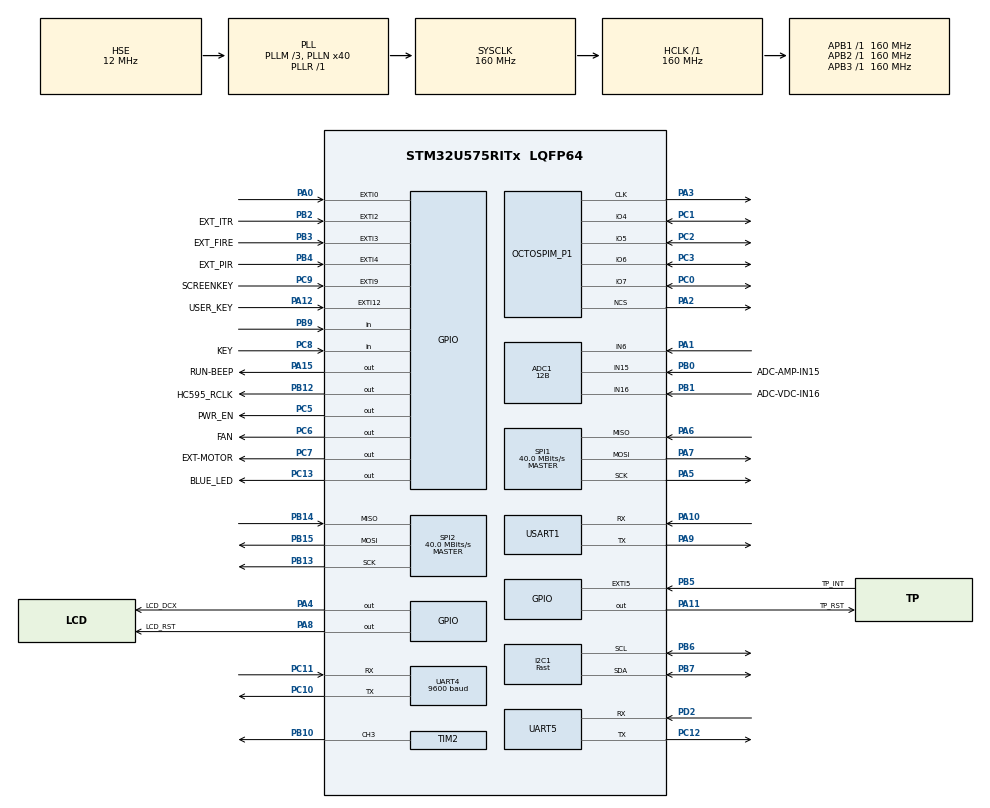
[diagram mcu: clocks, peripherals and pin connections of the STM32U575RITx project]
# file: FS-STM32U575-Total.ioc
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ADC1.Channel-0\#ChannelRegularConversion=ADC_CHANNEL_6
ADC1.Channel-1\#ChannelRegularConversion=ADC_CHANNEL_15
ADC1.Channel-2\#ChannelRegularConversion=ADC_CHANNEL_16
ADC1.Channel-3\#ChannelRegularConversion=ADC_CHANNEL_TEMPSENSOR
ADC1.Channel-4\#ChannelRegularConversion=ADC_CHANNEL_VREFINT
ADC1.Channel-5\#ChannelRegularConversion=ADC_CHANNEL_VBAT
ADC1.ClockPrescaler=ADC_CLOCK_ASYNC_DIV1
ADC1.ContinuousConvMode=ENABLE
ADC1.ConversionDataManagement=ADC_CONVERSIONDATA_DMA_CIRCULAR
ADC1.EnableInjectedConversion=DISABLE
ADC1.EnableRegularConversion=ENABLE
ADC1.MonitoredBy-0\#ChannelRegularConversion=__NULL
ADC1.MonitoredBy-1\#ChannelRegularConversion=__NULL
ADC1.MonitoredBy-2\#ChannelRegularConversion=__NULL
ADC1.MonitoredBy-3\#ChannelRegularConversion=__NULL
ADC1.MonitoredBy-4\#ChannelRegularConversion=__NULL
ADC1.MonitoredBy-5\#ChannelRegularConversion=__NULL
ADC1.NbrOfConversion=6
ADC1.NbrOfConversionFlag=1
ADC1.OffsetNumber-0\#ChannelRegularConversion=ADC_OFFSET_NONE
ADC1.OffsetNumber-1\#ChannelRegularConversion=ADC_OFFSET_NONE
ADC1.OffsetNumber-2\#ChannelRegularConversion=ADC_OFFSET_NONE
ADC1.OffsetNumber-3\#ChannelRegularConversion=ADC_OFFSET_NONE
ADC1.OffsetNumber-4\#ChannelRegularConversion=ADC_OFFSET_NONE
ADC1.OffsetNumber-5\#ChannelRegularConversion=ADC_OFFSET_NONE
ADC1.Rank-0\#ChannelRegularConversion=1
ADC1.Rank-1\#ChannelRegularConversion=2
ADC1.Rank-2\#ChannelRegularConversion=3
ADC1.Rank-3\#ChannelRegularConversion=4
ADC1.Rank-4\#ChannelRegularConversion=5
ADC1.Rank-5\#ChannelRegularConversion=6
ADC1.Resolution=ADC_RESOLUTION_12B
ADC1.SamplingTime-0\#ChannelRegularConversion=ADC_SAMPLETIME_391CYCLES_5
ADC1.SamplingTime-1\#ChannelRegularConversion=ADC_SAMPLETIME_391CYCLES_5
ADC1.SamplingTime-2\#ChannelRegularConversion=ADC_SAMPLETIME_391CYCLES_5
ADC1.SamplingTime-3\#ChannelRegularConversion=ADC_SAMPLETIME_391CYCLES_5
ADC1.SamplingTime-4\#ChannelRegularConversion=ADC_SAMPLETIME_391CYCLES_5
ADC1.SamplingTime-5\#ChannelRegularConversion=ADC_SAMPLETIME_391CYCLES_5
ADC1.master=1
CORTEX_M33_NS.userName=CORTEX_M33
GPDMA1.CIRCULARMODE_GPDMACH0=DISABLE
GPDMA1.CIRCULARMODE_GPDMACH1=ENABLE
GPDMA1.CIRCULARMODE_GPDMACH2=ENABLE
GPDMA1.CIRCULARMODE_GPDMACH4=ENABLE
GPDMA1.CIRCULARMODE_GPDMACH5=ENABLE
GPDMA1.DESTDATAWIDTH_GPDMACH0=DMA_DEST_DATAWIDTH_HALFWORD
GPDMA1.DESTDATAWIDTH_GPDMACH1=DMA_DEST_DATAWIDTH_HALFWORD
GPDMA1.DESTDATAWIDTH_GPDMACH4=DMA_DEST_DATAWIDTH_BYTE
GPDMA1.DESTDATAWIDTH_GPDMACH5=DMA_DEST_DATAWIDTH_BYTE
GPDMA1.DESTINC_GPDMACH0=DMA_DINC_FIXED
GPDMA1.DESTINC_GPDMACH1=DMA_DINC_INCREMENTED
GPDMA1.DESTINC_GPDMACH2=DMA_DINC_INCREMENTED
GPDMA1.DESTINC_GPDMACH4=DMA_DINC_INCREMENTED
GPDMA1.DESTINC_GPDMACH5=DMA_DINC_FIXED
GPDMA1.DIRECTION_GPDMACH0=DMA_MEMORY_TO_PERIPH
GPDMA1.DIRECTION_GPDMACH4=DMA_PERIPH_TO_MEMORY
GPDMA1.IPHANDLE_GPDMACH0-SIMPLEREQUEST_GPDMACH0=__NULL
GPDMA1.IPHANDLE_GPDMACH1-SIMPLEREQUEST_GPDMACH1=__NULL
GPDMA1.IPHANDLE_GPDMACH2-SIMPLEREQUEST_GPDMACH2=__NULL
GPDMA1.IPHANDLE_GPDMACH3-SIMPLEREQUEST_GPDMACH3=__NULL
GPDMA1.IPHANDLE_GPDMACH4-SIMPLEREQUEST_GPDMACH4=__NULL
GPDMA1.IPHANDLE_GPDMACH5-SIMPLEREQUEST_GPDMACH5=__NULL
GPDMA1.LINKALLOCATEDPORT_CIRCULAR_GPDMACH1=DMA_LINK_ALLOCATED_PORT1
GPDMA1.LINKALLOCATEDPORT_CIRCULAR_GPDMACH5=DMA_LINK_ALLOCATED_PORT1
GPDMA1.PRIORITY_GPDMACH0=DMA_LOW_PRIORITY_HIGH_WEIGHT
GPDMA1.PRIORITY_LL_CIRCULAR_GPDMACH1=DMA_LOW_PRIORITY_HIGH_WEIGHT
GPDMA1.PRIORITY_LL_CIRCULAR_GPDMACH2=DMA_LOW_PRIORITY_MID_WEIGHT
GPDMA1.PRIORITY_LL_CIRCULAR_GPDMACH4=DMA_LOW_PRIORITY_HIGH_WEIGHT
GPDMA1.PRIORITY_LL_CIRCULAR_GPDMACH5=DMA_LOW_PRIORITY_LOW_WEIGHT
GPDMA1.RECAP_GPDMACH0=USART1_RX
GPDMA1.RECAP_GPDMACH1=USART1_TX
GPDMA1.RECAP_GPDMACH2=UART4_RX
GPDMA1.RECAP_GPDMACH3=UART4_TX
GPDMA1.RECAP_GPDMACH4=GPDMA1_REQUEST_SPI1_TX
GPDMA1.RECAP_GPDMACH5=GPDMA1_REQUEST_ADC1
GPDMA1.REQUEST_GPDMACH0=GPDMA1_REQUEST_SPI1_TX
GPDMA1.REQUEST_GPDMACH1=GPDMA1_REQUEST_ADC1
GPDMA1.REQUEST_GPDMACH2=GPDMA1_REQUEST_UART4_RX
GPDMA1.REQUEST_GPDMACH3=GPDMA1_REQUEST_UART4_TX
GPDMA1.REQUEST_GPDMACH4=GPDMA1_REQUEST_USART1_RX
GPDMA1.REQUEST_GPDMACH5=GPDMA1_REQUEST_USART1_TX
GPDMA1.SRCDATAWIDTH_GPDMACH0=DMA_SRC_DATAWIDTH_HALFWORD
GPDMA1.SRCDATAWIDTH_GPDMACH1=DMA_SRC_DATAWIDTH_HALFWORD
GPDMA1.SRCDATAWIDTH_GPDMACH4=DMA_SRC_DATAWIDTH_BYTE
GPDMA1.SRCDATAWIDTH_GPDMACH5=DMA_SRC_DATAWIDTH_BYTE
GPDMA1.SRCINC_GPDMACH0=DMA_SINC_INCREMENTED
GPDMA1.SRCINC_GPDMACH1=DMA_SINC_FIXED
GPDMA1.SRCINC_GPDMACH3=DMA_SINC_INCREMENTED
GPDMA1.SRCINC_GPDMACH4=DMA_SINC_FIXED
GPDMA1.SRCINC_GPDMACH5=DMA_SINC_INCREMENTED
GPDMA1.TRANSFERALLOCATEDPORTDEST_GPDMACH0=DMA_DEST_ALLOCATED_PORT0
GPDMA1.TRANSFERALLOCATEDPORTDEST_GPDMACH1=DMA_DEST_ALLOCATED_PORT1
GPDMA1.TRANSFERALLOCATEDPORTDEST_GPDMACH5=DMA_DEST_ALLOCATED_PORT0
GPDMA1.TRANSFERALLOCATEDPORTSRC_GPDMACH1=DMA_SRC_ALLOCATED_PORT1
GPDMA1.TRANSFERALLOCATEDPORTSRC_GPDMACH3=DMA_SRC_ALLOCATED_PORT1
GPDMA1.TRANSFERALLOCATEDPORTSRC_GPDMACH5=DMA_SRC_ALLOCATED_PORT1
I2C1.I2C_Speed_Mode=I2C_Fast
I2C1.Timing=0x00F07BFF
Mcu.Family=STM32U5
Mcu.Name=STM32U575RITx
Mcu.Package=LQFP64
NVIC.EXTI0_IRQn=true\:10\:0\:true\:false\:true\:true\:true\:true
NVIC.EXTI12_IRQn=true\:10\:0\:true\:false\:true\:true\:true\:true
NVIC.EXTI2_IRQn=true\:10\:0\:true\:false\:true\:true\:true\:true
NVIC.EXTI3_IRQn=true\:10\:0\:true\:false\:true\:true\:true\:true
NVIC.EXTI4_IRQn=true\:10\:0\:true\:false\:true\:true\:true\:true
NVIC.EXTI5_IRQn=true\:10\:0\:true\:false\:true\:true\:true\:true
NVIC.EXTI9_IRQn=true\:10\:0\:true\:false\:true\:true\:true\:true
NVIC.GPDMA1_Channel0_IRQn=true\:8\:0\:true\:false\:true\:false\:true\:true
NVIC.GPDMA1_Channel1_IRQn=true\:8\:0\:true\:false\:true\:false\:true\:true
NVIC.GPDMA1_Channel2_IRQn=true\:8\:0\:true\:false\:true\:false\:true\:true
NVIC.GPDMA1_Channel3_IRQn=true\:8\:0\:true\:false\:true\:false\:true\:true
NVIC.GPDMA1_Channel4_IRQn=true\:8\:0\:true\:false\:true\:false\:true\:true
NVIC.GPDMA1_Channel5_IRQn=true\:8\:0\:true\:false\:true\:false\:true\:true
NVIC.PriorityGroup=NVIC_PRIORITYGROUP_4
NVIC.SPI1_IRQn=true\:0\:0\:false\:false\:true\:true\:true\:true
NVIC.TIM16_IRQn=true\:5\:0\:true\:false\:true\:true\:true\:true
NVIC.TIM17_IRQn=true\:6\:0\:true\:false\:true\:true\:true\:true
NVIC.UART4_IRQn=true\:9\:0\:true\:false\:true\:true\:true\:true
NVIC.UART5_IRQn=true\:9\:0\:true\:false\:true\:true\:true\:true
NVIC.USART1_IRQn=true\:9\:0\:true\:false\:true\:true\:true\:true
OCTOSPI1.ClockMode=HAL_OSPI_CLOCK_MODE_3
OCTOSPI1.ClockPrescaler=2
OCTOSPI1.DeviceSize=24
OCTOSPI1.FifoThreshold=8
OCTOSPI1.SampleShifting=HAL_OSPI_SAMPLE_SHIFTING_HALFCYCLE
PA0.GPIO_ModeDefaultEXTI=GPIO_MODE_IT_RISING_FALLING
PA0.GPIO_PuPd=GPIO_PULLDOWN
PA0.Signal=GPXTI0
PA1.Mode=IN6-Single-Ended
PA1.Signal=ADC1_IN6
PA10.Mode=Asynchronous
PA10.Signal=USART1_RX
PA11.GPIO_Label=TP_RST
PA11.Signal=GPIO_Output
PA12.GPIO_Label=USER_KEY
PA12.GPIO_ModeDefaultEXTI=GPIO_MODE_IT_FALLING
PA12.Signal=GPXTI12
PA13\ (JTMS/SWDIO).Mode=Serial_Wire
PA13\ (JTMS/SWDIO).Signal=DEBUG_JTMS-SWDIO
PA14\ (JTCK/SWCLK).Mode=Serial_Wire
PA14\ (JTCK/SWCLK).Signal=DEBUG_JTCK-SWCLK
PA15\ (JTDI).GPIO_Label=RUN-BEEP
PA15\ (JTDI).Signal=GPIO_Output
PA2.Mode=OCTOSPI1_Port1_NCS
PA2.Signal=OCTOSPIM_P1_NCS
PA3.Mode=O1_P1_CLK
PA3.Signal=OCTOSPIM_P1_CLK
PA4.GPIO_Label=LCD_DCX
PA4.GPIO_Speed=GPIO_SPEED_FREQ_VERY_HIGH
PA4.Signal=GPIO_Output
PA5.GPIO_Speed=GPIO_SPEED_FREQ_VERY_HIGH
PA5.Mode=Full_Duplex_Master
PA5.Signal=SPI1_SCK
PA6.GPIO_Speed=GPIO_SPEED_FREQ_VERY_HIGH
PA6.Mode=Full_Duplex_Master
PA6.Signal=SPI1_MISO
PA7.GPIO_Speed=GPIO_SPEED_FREQ_VERY_HIGH
PA7.Mode=Full_Duplex_Master
PA7.Signal=SPI1_MOSI
PA8.GPIO_Label=LCD_RST
PA8.GPIO_Speed=GPIO_SPEED_FREQ_HIGH
PA8.Signal=GPIO_Output
PA9.Mode=Asynchronous
PA9.Signal=USART1_TX
PB0.GPIO_Label=ADC-AMP-IN15
PB0.Mode=IN15-Single-Ended
PB0.Signal=ADC1_IN15
PB1.GPIO_Label=ADC-VDC-IN16
PB1.Mode=IN16-Single-Ended
PB1.Signal=ADC1_IN16
PB10.Signal=S_TIM2_CH3
PB12.GPIO_Label=HC595_RCLK
PB12.GPIO_Speed=GPIO_SPEED_FREQ_HIGH
PB12.Signal=GPIO_Output
PB13.GPIO_Speed=GPIO_SPEED_FREQ_VERY_HIGH
PB13.Mode=Full_Duplex_Master
PB13.Signal=SPI2_SCK
PB14.GPIO_Speed=GPIO_SPEED_FREQ_VERY_HIGH
PB14.Mode=Full_Duplex_Master
PB14.Signal=SPI2_MISO
PB15.GPIO_Speed=GPIO_SPEED_FREQ_VERY_HIGH
PB15.Mode=Full_Duplex_Master
PB15.Signal=SPI2_MOSI
PB2.GPIO_Label=EXT_ITR
PB2.GPIO_ModeDefaultEXTI=GPIO_MODE_IT_RISING_FALLING
PB2.Signal=GPXTI2
PB3\ (JTDO/TRACESWO).GPIO_Label=EXT_FIRE
PB3\ (JTDO/TRACESWO).GPIO_ModeDefaultEXTI=GPIO_MODE_IT_RISING_FALLING
PB3\ (JTDO/TRACESWO).Signal=GPXTI3
PB4\ (NJTRST).GPIO_Label=EXT_PIR
PB4\ (NJTRST).GPIO_ModeDefaultEXTI=GPIO_MODE_IT_RISING_FALLING
PB4\ (NJTRST).Signal=GPXTI4
PB5.GPIO_Label=TP_INT
PB5.GPIO_ModeDefaultEXTI=GPIO_MODE_IT_RISING_FALLING
PB5.GPIO_PuPd=GPIO_PULLUP
PB5.Signal=GPXTI5
PB6.Mode=I2C
PB6.Signal=I2C1_SCL
PB7.Mode=I2C
PB7.Signal=I2C1_SDA
PB9.GPIO_PuPd=GPIO_PULLUP
PB9.Signal=GPIO_Input
PC0.Mode=OCTOSPI1_IOL_Port1H
PC0.Signal=OCTOSPIM_P1_IO7
PC1.Mode=OCTOSPI1_IOL_Port1H
PC1.Signal=OCTOSPIM_P1_IO4
PC10.Mode=Asynchronous
PC10.Signal=UART4_TX
PC11.GPIO_Speed=GPIO_SPEED_FREQ_MEDIUM
PC11.Mode=Asynchronous
PC11.Signal=UART4_RX
PC12.Mode=Asynchronous
PC12.Signal=UART5_TX
PC13.GPIO_Label=BLUE_LED
PC13.Signal=GPIO_Output
PC14-OSC32_IN\ (PC14).Mode=LSE-External-Oscillator
PC14-OSC32_IN\ (PC14).Signal=RCC_OSC32_IN
PC15-OSC32_OUT\ (PC15).Mode=LSE-External-Oscillator
PC15-OSC32_OUT\ (PC15).Signal=RCC_OSC32_OUT
PC2.Mode=OCTOSPI1_IOL_Port1H
PC2.Signal=OCTOSPIM_P1_IO5
PC3.Mode=OCTOSPI1_IOL_Port1H
PC3.Signal=OCTOSPIM_P1_IO6
PC5.GPIO_Label=PWR_EN
PC5.PinState=GPIO_PIN_SET
PC5.Signal=GPIO_Output
PC6.GPIO_Label=FAN
PC6.Signal=GPIO_Output
PC7.GPIO_Label=EXT-MOTOR
PC7.Signal=GPIO_Output
PC8.GPIO_Label=KEY
PC8.Signal=GPIO_Input
PC9.GPIO_Label=SCREENKEY
PC9.GPIO_ModeDefaultEXTI=GPIO_MODE_IT_RISING_FALLING
PC9.Signal=GPXTI9
PD2.Mode=Asynchronous
PD2.Signal=UART5_RX
PH0-OSC_IN\ (PH0).Mode=HSE-External-Oscillator
PH0-OSC_IN\ (PH0).Signal=RCC_OSC_IN
PH1-OSC_OUT\ (PH1).Mode=HSE-External-Oscillator
PH1-OSC_OUT\ (PH1).Signal=RCC_OSC_OUT
ProjectManager.HeapSize=0x400
ProjectManager.StackSize=0x400
ProjectManager.TargetToolchain=MDK-ARM V5.32
RCC.ADCFreq_Value=16000000
RCC.AHBFreq_Value=160000000
RCC.APB1Freq_Value=160000000
RCC.APB1TimFreq_Value=160000000
RCC.APB2Freq_Value=160000000
RCC.APB2TimFreq_Value=160000000
RCC.APB3Freq_Value=160000000
RCC.CortexFreq_Value=160000000
RCC.EPOD_VALUE=12000000
RCC.HCLKFreq_Value=160000000
RCC.HSE_VALUE=12000000
RCC.HSI48_VALUE=48000000
RCC.HSI_VALUE=16000000
RCC.LSIDIV_VALUE=32000
RCC.MSIClockRange=RCC_MSIRANGE_0
RCC.MSI_VALUE=48000000
RCC.PLL1R=1
RCC.PLL2FRACN=0
RCC.PLL3FRACN=0
RCC.PLL3Source=RCC_PLLSOURCE_HSE
RCC.PLLFRACN=0
RCC.PLLM=3
RCC.PLLN=40
RCC.PLLSourceVirtual=RCC_PLLSOURCE_HSE
RCC.SYSCLKFreq_VALUE=160000000
RCC.SYSCLKSource=RCC_SYSCLKSOURCE_PLLCLK
RCC.USBFreq_Value=48000000
RCC.VCOOutputFreq_Value=160000000
RTC.Date=11
RTC.Format=RTC_FORMAT_BIN
RTC.Hours=15
RTC.Minutes=36
RTC.Month=RTC_MONTH_JULY
RTC.WeekDay=RTC_WEEKDAY_TUESDAY
RTC.Year=23
SH.S_TIM2_CH3.0=TIM2_CH3,PWM Generation3 CH3
SPI1.BaudRatePrescaler=SPI_BAUDRATEPRESCALER_4
SPI1.CalculateBaudRate=40.0 MBits/s
SPI1.DataSize=SPI_DATASIZE_8BIT
SPI1.Direction=SPI_DIRECTION_2LINES
SPI1.MasterKeepIOState=SPI_MASTER_KEEP_IO_STATE_ENABLE
SPI1.Mode=SPI_MODE_MASTER
SPI1.VirtualType=VM_MASTER
SPI2.BaudRatePrescaler=SPI_BAUDRATEPRESCALER_4
SPI2.CalculateBaudRate=40.0 MBits/s
SPI2.DataSize=SPI_DATASIZE_8BIT
SPI2.Direction=SPI_DIRECTION_2LINES
SPI2.MasterKeepIOState=SPI_MASTER_KEEP_IO_STATE_ENABLE
SPI2.Mode=SPI_MODE_MASTER
SPI2.NSSPMode=SPI_NSS_PULSE_DISABLE
SPI2.ReadyPolarity=SPI_RDY_POLARITY_LOW
SPI2.VirtualType=VM_MASTER
STMicroelectronics.X-CUBE-TOUCHGFX.4.26.0.ApplicationCcGraphicsJjApplication=TouchGFXOoGenerator
STMicroelectronics.X-CUBE-TOUCHGFX.4.26.0.tgfx_custom_height=240
STMicroelectronics.X-CUBE-TOUCHGFX.4.26.0.tgfx_custom_width=320
STMicroelectronics.X-CUBE-TOUCHGFX.4.26.0.tgfx_hardware_accelerator=dma_custom
STMicroelectronics.X-CUBE-TOUCHGFX.4.26.0_IsPackSelfContextualization=true
TIM16.AutoReloadPreload=TIM_AUTORELOAD_PRELOAD_ENABLE
TIM16.PeriodNoDither=5000-1
TIM16.Prescaler=160-1
TIM17.AutoReloadPreload=TIM_AUTORELOAD_PRELOAD_ENABLE
TIM17.PeriodNoDither=10000-1
TIM17.Prescaler=1600-1
TIM2.AutoReloadPreload=TIM_AUTORELOAD_PRELOAD_ENABLE
TIM2.Channel-PWM\ Generation3\ CH3=TIM_CHANNEL_3
TIM2.PeriodNoDither=1000-1
TIM2.Prescaler=64-1
TIM2.PulseNoDither_3=500-1
UART4.BaudRate=9600
USART1.VirtualMode-Asynchronous=VM_ASYNC
VP_ADC1_TempSens_Input.Mode=IN-TempSens
VP_ADC1_Vbat_Input.Mode=IN-Vbat
VP_ADC1_Vref_Input.Mode=IN-Vrefint
VP_CRC_VS_CRC.Mode=CRC_Activate
VP_GPDMA1_VS_GPDMACH0.Mode=SIMPLEREQUEST_GPDMACH0
VP_GPDMA1_VS_GPDMACH1.Mode=SIMPLEREQUEST_GPDMACH1
VP_GPDMA1_VS_GPDMACH2.Mode=SIMPLEREQUEST_GPDMACH2
VP_GPDMA1_VS_GPDMACH3.Mode=SIMPLEREQUEST_GPDMACH3
VP_GPDMA1_VS_GPDMACH4.Mode=SIMPLEREQUEST_GPDMACH4
VP_GPDMA1_VS_GPDMACH5.Mode=SIMPLEREQUEST_GPDMACH5
VP_ICACHE_VS_ENABLE_ICACHE_MEMORY.Mode=Memoryregions
VP_ICACHE_VS_ICACHE.Mode=DirectMappedCache
VP_LPBAMQUEUE_VS_QUEUE.Mode=QUEUEMODE
VP_LPBAM_VS_SIG1.Mode=SmartRun
VP_LPBAM_VS_SIG4.Mode=LPDMA1
VP_OCTOSPI1_VS_quad.Mode=quad_mode
VP_PWR_VS_DBSignals.Mode=DisableDeadBatterySignals
VP_PWR_VS_LPOM.Mode=PowerOptimisation
VP_PWR_VS_SECSignals.Mode=Security/Privilege
VP_RTC_VS_RTC_Activate.Mode=RTC_Enabled
VP_RTC_VS_RTC_Calendar.Mode=RTC_Calendar
VP_STMicroelectronics.X-CUBE-TOUCHGFX_VS_GraphicsJjApplication_4.26.0.Mode=GraphicsJjApplication
VP_TIM16_VS_ClockSourceINT.Mode=Enable_Timer
VP_TIM17_VS_ClockSourceINT.Mode=Enable_Timer
board=custom

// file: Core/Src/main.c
/* USER CODE BEGIN Header */
/**
  ******************************************************************************
  * @file           : main.c
  * @brief          : Main program body
  ******************************************************************************
  * @attention
  *
  * Copyright (c) 2023 STMicroelectronics.
  * All rights reserved.
  *
  * This software is licensed under terms that can be found in the LICENSE file
  * in the root directory of this software component.
  * If no LICENSE file comes with this software, it is provided AS-IS.
  *
  ******************************************************************************
  */
/* USER CODE END Header */
#include "main.h"
#include "adc.h"
#include "crc.h"
#include "gpdma.h"
#include "i2c.h"
#include "icache.h"
#include "octospi.h"
#include "rtc.h"
#include "spi.h"
#include "tim.h"
#include "usart.h"
#include "gpio.h"
#include "app_touchgfx.h"

/* USER CODE BEGIN Includes */
#include "user_app.h"		//用户应用程序
#include "uart_receiver.h"  // <--- 插入这一行
#include "bsp_mq2.h"
#include "bsp_mq3.h"
#include "bsp_motor.h"
#include "bsp_max30102.h"
#include "bsp_scd41.h"
//
/* USER CODE END Includes */

/* USER CODE BEGIN PD */
#define	ADC_CONVERTED_DATA_BUFFER_SIZE	6
/* USER CODE END PD */

/* USER CODE BEGIN PV */
uint8_t gChatCount = 10;  //全局按键按压计数
volatile uint8_t gBuzzerModalActive = 0; // TouchGFX蜂鸣器弹窗占用标志，1=占用中，main循环不重置
uint8_t KeyChangeScreen=0;
volatile uint8_t g_power_sleep_ratio = 0;
volatile uint8_t g_low_power_mode = 0;
static uint8_t gTaskIndex = 0x00;  //系统任务索引变量
ADC_ValTypeDef gStruADC={0,0,0,0,0,0}; //A/D通道实时采集的数据
uint16_t ADC_KEY=0;
extern gTask_MarkEN gTaskEnMark;  //系统任务使能标识
extern volatile uint8_t gBacklightVal;	//背光值，默认50%
extern volatile uint8_t TcpClosedFlag;
volatile uint8_t gRX3_BufF[1];	//串口3-wifi模组接收到的数据
extern volatile SHT20_TemRH_Val gTemRH_Val; // <--- 插入这一行

//--------------------------------------------------------------------------------------------------------------------------

/* USER CODE BEGIN PTD */
// --- NFC 模块变量 ---
NFC_Handler_t nfc;
uint8_t nfc_rx_pool[NFC_BUF_SIZE];

// NFC 内部业务状态（设密码 -> 读数据）
typedef enum {
    NFC_APP_IDLE,
    NFC_APP_WAIT_KEY,
    NFC_APP_WAIT_READ
} NFC_AppState_t;

NFC_AppState_t nfc_app_state = NFC_APP_IDLE;

// 给 UI 逻辑使用的最终结果标志
volatile uint8_t g_nfc_unlock_flag = 0; // 1 代表读卡成功并匹配
/* USER CODE END PTD */
//--------------------------------------------------------------------------------------------------------------------------------------------

/* USER CODE END PV */

void SystemClock_Config(void);
static void SystemPower_Config(void);
/* USER CODE BEGIN PFP */
extern void touchgfx_signalVSynTimer(void);
extern gTask_BitDef gTaskStateBit;  //任务执行过程中使用到的标志位
/* USER CODE END PFP */

/* USER CODE BEGIN 0 */
/**************************关闭标准库下的半主机模式****************************/
__ASM (".global __use_no_semihosting");	//AC6编译器
//标准库需要的支持函数
struct FILE
{
  int handle;
};
FILE __stdout;
//定义_sys_exit()以避免使用半主机模式
void _sys_exit(int x)
{
  x = x;
}
void _ttywrch(int ch)
{
  ch = ch;
}
//printf实现重定向
int fputc(int ch, FILE *f)
{
	uint8_t temp[1] = {ch};
	HAL_UART_Transmit(&huart1, temp, 1, 2);
	return ch;
}
uint32_t flag=0;
/******************************************************************************/
//
/*******************************************************************************
*	函 数 名: OSPI_W25Qxx_mmap
*	入口参数: 无
*	返 回 值: 无
*	函数功能: 设置为内存映射模式
*	说    明: 无
*******************************************************************************/
void OSPI_W25Qxx_mmap(void)		//Flash读写测试
{
	int32_t OSPI_Status ; 		 //检测标志位
	//
	OSPI_Status = OSPI_W25Qxx_MemoryMappedMode(); //配置OSPI为内存映射模式
	if( OSPI_Status == OSPI_W25Qxx_OK )
	{
		//printf ("\r\n内存映射模式设置成功>>>>\r\n");
	}
	else
	{
		//printf ("\r\n内存映射模式设置失败>>>>\r\n");
		Error_Handler();
	}
}
/* USER CODE BEGIN 0 */

/* USER CODE END 0 */

int main(void)
{

  /* MCU Configuration--------------------------------------------------------*/

  /* Reset of all peripherals, Initializes the Flash interface and the Systick. */
  HAL_Init();

  /* Configure the System Power */
  SystemPower_Config();

  /* Configure the system clock */
  SystemClock_Config();

  /* Initialize all configured peripherals */
  MX_GPIO_Init();
  MX_GPDMA1_Init();
  MX_OCTOSPI1_Init();
  MX_SPI1_Init();
  MX_CRC_Init();
  MX_I2C1_Init();
  MX_TIM16_Init();
  MX_TIM17_Init();
  MX_USART1_UART_Init();
	  printf("[INIT] === UART OK ===\r\n");  // test: UART output right after init
  MX_RTC_Init();
  MX_ADC1_Init();
  MX_SPI2_Init();
  MX_TIM2_Init();
  MX_UART5_Init();
  MX_ICACHE_Init();
  MX_UART4_Init();
  MX_TouchGFX_Init();
  /* USER CODE BEGIN 2 */
	for(gTaskIndex = 0;gTaskIndex < OS_TASKLISTCNT;gTaskIndex++)	g_OSTsakList[gTaskIndex]=NULL;   //清空任务列表
  //NOR Flash初始化
  OSPI_W25Qxx_Init();	//初始化W25Q128
  OSPI_W25Qxx_mmap();	//设置为内存映射模式

		//=== 传感器初始化 ===
		BSP_MQ2_Init();
		BSP_MQ3_Init();
		BSP_MOTOR_Init();
		BSP_MAX30102_Init();  // MAX30102 心率血氧传感器初始化
		printf("[INIT] BSP_MAX30102_Init done\r\n");

		// 默认使能心率测量任务
		gTaskEnMark.UPDATE_HEART_RATE_EN = 1;
		printf("[INIT] HeartRate Task Enabled\r\n");

		//=== 初始化完成 ===
		// 测试调用（二选一，阻塞运行）：
		// BSP_MQ2_Test();  // MQ-2烟雾传感器测试
		// BSP_MQ3_Test();  // MQ-3酒精传感器测试

	// 插入 NFC 初始化
NFC_Init(&nfc, &huart4, &huart1, nfc_rx_pool, NFC_BUF_SIZE);

	void Force_PC13_To_Input();

	  // 1. 启动 PWM 输出
  HAL_TIM_PWM_Start(&htim2, TIM_CHANNEL_3);

  // 2. 强制将背光变量设为 0 (原本默认是 50)
	// 开启定时器，但立刻强制输出 0
HAL_TIM_PWM_Start(&htim2, TIM_CHANNEL_3);
__HAL_TIM_SET_COMPARE(&htim2, TIM_CHANNEL_3, 0);
// 同步变量状态
  gBacklightVal = 90;
  Update_Backlight(90);

  ILI9341_Init();	//显示屏初始化
  FT6336_init();	//触摸屏初始化
	mpu_init_dmp();	//mpu6050 dmp初始化
	ap3216c_init();	//环境光传感器初始化
		SCD41_Init();		//SCD41 CO2传感器初始化
		printf("[INIT] SCD41_Init done\r\n");
	//ESP8266初始化，HAL库使用USART3
	ESP8266_Init(&huart5,(uint8_t *)gRX3_BufF,115200);
		printf("[INIT] ESP8266_Init done\r\n");

	// ==== OneNet MQTT 非阻塞模式 ====
	printf("[TEST] Starting OneNet Non-blocking...\r\n");
	OneNet_Init_Start();  // 启动 OneNet 连接（非阻塞）
	// ==========================

	//ESP8266_STA_TCPClient_Test();//TCP测试，进入子函数While(1)
	//ESP8266_STA_MQTTClient_Test();//MQTT测试，进入子函数While(1)
	//系统时间初始化
	System_Time_init();
		printf("[INIT] System_Time_init done\r\n");
	//使能ADC电源
	HAL_PWREx_EnableVddA();
  HAL_PWREx_EnableVddIO2();
	//ADC校准
  if (HAL_ADCEx_Calibration_Start(&hadc1, ADC_CALIB_OFFSET, ADC_SINGLE_ENDED) != HAL_OK)
  {
    /* Calibration Error */
    Error_Handler();
  }
  printf("[INIT] ADC Calibration done\r\n");
  HAL_NVIC_SetPriority(RTC_IRQn, 15, 0);
  HAL_NVIC_EnableIRQ(RTC_IRQn);
  DBGMCU->CR |= DBGMCU_CR_DBG_STOP;
  /* USER CODE END 2 */

  /* Infinite loop */
  /* USER CODE BEGIN WHILE */
  HAL_TIM_Base_Start_IT(&htim16);//开启定时器16开启,系统任务调度开始
  HAL_TIM_Base_Start_IT(&htim17);//开启定时器17开启,设备控制任务开始
	//PWM输出启动-背光亮度
	Update_Backlight(gBacklightVal);	//设置背光亮度
	//启动ADC组与DMA的常规转换
  if (HAL_ADC_Start_DMA(&hadc1,(uint32_t *)&gStruADC,ADC_CONVERTED_DATA_BUFFER_SIZE) != HAL_OK)	{Error_Handler();}

	printf("[INIT] All init done, entering main loop\r\n");
		g_low_power_mode = 0;  // 防止 GPIO 初始化时的虚假 EXTI 误触发
									//主循环
  while (1)
  {
    /* USER CODE END WHILE */

		// printf("[Main] Before TouchGFX_Process...\r\n");
  MX_TouchGFX_Process();
		// printf("[Main] After TouchGFX_Process!\r\n");
    /* USER CODE BEGIN 3 */

		// 【验证 HAL_GetTick 已关闭】
		// static uint32_t last_tick = 0;
		// static uint8_t tick_verify = 0;
		// uint32_t now = HAL_GetTick();
		// (void)now;  // 避免未使用警告

		// 原：每秒验证一次 tick
		/* ... */

		uint8_t had_work = 0;

		if (!g_low_power_mode) {
			// OneNet MQTT 非阻塞任务（每循环执行一次，不再阻塞主循环）
			OneNet_Report_Task();

			for(gTaskIndex = 0;gTaskIndex < OS_TASKLISTCNT;gTaskIndex++)
			{
				if((*g_OSTsakList[gTaskIndex]) != NULL)
				{
					g_OSTsakList[gTaskIndex]();
					g_OSTsakList[gTaskIndex] = NULL;
					had_work = 1;
				}
			}

			// HR state machine continuation: re-queue if more chunks pending
			if (g_hr_continue_flag)
			{
				g_hr_continue_flag = 0;
				g_OSTsakList[eUPDATE_HEART_RATE] = Update_HeartRateInfo;
				had_work = 1;
			}
		}
		// Low power mode: skip all tasks, had_work=0 -> enters Stop 0 immediately

		// 触摸调试：每100次主循环打印一次计数器
		// Sleep/Stop: WFI (normal) / Stop 0 (when g_low_power_mode=1)
		{
			static uint32_t s_sleep_cnt = 0, s_total = 0, s_tick = 0;
			static uint8_t  s_was_low_power = 0;
			static uint8_t  s_lp_entry_delay = 0;
			s_total++;
			if (!had_work) {
				s_sleep_cnt++;
				if (g_low_power_mode) {
					if (!s_was_low_power) {
						s_was_low_power = 1;
						s_lp_entry_delay = 1;  // delay one frame for TouchGFX page render
					}
					if (s_lp_entry_delay) {
						s_lp_entry_delay = 0;
						__WFI();  // brief sleep, let next MX_TouchGFX_Process render page
					} else {
						// ---- Stop 0: sleep until EXTI wakes (no RTC periodic wakeup) ----
						HAL_TIM_Base_Stop_IT(&htim16);
						HAL_TIM_Base_Stop_IT(&htim17);
						HAL_ADC_Stop_DMA(&hadc1);
						RTC_WakeUp_Deactivate();
						HAL_PWR_EnterSTOPMode(PWR_MAINREGULATOR_ON, PWR_STOPENTRY_WFI);
						// restore after wakeup
						for (volatile uint32_t _ti = 0; _ti < 100; _ti++) { HAL_IncTick(); }
						HAL_ICACHE_Enable();
						SystemClock_Config();
						HAL_TIM_Base_Start_IT(&htim16);
						HAL_TIM_Base_Start_IT(&htim17);
						HAL_ADC_Start_DMA(&hadc1, (uint32_t*)&gStruADC, ADC_CONVERTED_DATA_BUFFER_SIZE);
						Update_Backlight(gBacklightVal);
						if (!g_low_power_mode) {
							// Exited low power mode via USER_KEY
							s_was_low_power = 0;
							s_lp_entry_delay = 0;
							HAL_ADC_Stop_DMA(&hadc1);
							HAL_ADC_Start_DMA(&hadc1, (uint32_t*)&gStruADC, ADC_CONVERTED_DATA_BUFFER_SIZE);
							MX_I2C1_Init();
						}
						// If still in low power, loop back to Stop 0 above
					}
				} else {
					if (s_was_low_power && !g_low_power_mode) {
						s_was_low_power = 0;
						s_lp_entry_delay = 0;
						RTC_WakeUp_Deactivate();
						HAL_ADC_Stop_DMA(&hadc1);
						HAL_ADC_Start_DMA(&hadc1, (uint32_t*)&gStruADC, ADC_CONVERTED_DATA_BUFFER_SIZE);
						MX_I2C1_Init();
					}
					__WFI();
				}
			} else {
				if (s_lp_entry_delay) s_lp_entry_delay = 0;
				if (s_was_low_power && !g_low_power_mode) {
					s_was_low_power = 0;
					RTC_WakeUp_Deactivate();
					HAL_ADC_Stop_DMA(&hadc1);
					HAL_ADC_Start_DMA(&hadc1, (uint32_t*)&gStruADC, ADC_CONVERTED_DATA_BUFFER_SIZE);
					MX_I2C1_Init();
				}
			}
			if (HAL_GetTick() - s_tick >= 1000) {
				g_power_sleep_ratio = (uint8_t)(s_sleep_cnt * 100 / s_total);
				s_sleep_cnt = 0; s_total = 0; s_tick = HAL_GetTick();
			}
		}
	  }
  /* USER CODE END 3 */
}

void SystemClock_Config(void)
{
  RCC_OscInitTypeDef RCC_OscInitStruct = {0};
  RCC_ClkInitTypeDef RCC_ClkInitStruct = {0};

  /** Configure the main internal regulator output voltage
  */
  if (HAL_PWREx_ControlVoltageScaling(PWR_REGULATOR_VOLTAGE_SCALE1) != HAL_OK)
  {
    Error_Handler();
  }

  /** Initializes the CPU, AHB and APB buses clocks
  */
  RCC_OscInitStruct.OscillatorType = RCC_OSCILLATORTYPE_HSI|RCC_OSCILLATORTYPE_LSI
                              |RCC_OSCILLATORTYPE_HSE;
  RCC_OscInitStruct.HSEState = RCC_HSE_ON;
  RCC_OscInitStruct.HSIState = RCC_HSI_ON;
  RCC_OscInitStruct.HSICalibrationValue = RCC_HSICALIBRATION_DEFAULT;
  RCC_OscInitStruct.LSIState = RCC_LSI_ON;
  RCC_OscInitStruct.LSIDiv = RCC_LSI_DIV1;
  RCC_OscInitStruct.PLL.PLLState = RCC_PLL_ON;
  RCC_OscInitStruct.PLL.PLLSource = RCC_PLLSOURCE_HSE;
  RCC_OscInitStruct.PLL.PLLMBOOST = RCC_PLLMBOOST_DIV1;
  RCC_OscInitStruct.PLL.PLLM = 3;
  RCC_OscInitStruct.PLL.PLLN = 40;
  RCC_OscInitStruct.PLL.PLLP = 2;
  RCC_OscInitStruct.PLL.PLLQ = 2;
  RCC_OscInitStruct.PLL.PLLR = 1;
  RCC_OscInitStruct.PLL.PLLRGE = RCC_PLLVCIRANGE_0;
  RCC_OscInitStruct.PLL.PLLFRACN = 0;
  if (HAL_RCC_OscConfig(&RCC_OscInitStruct) != HAL_OK)
  {
    Error_Handler();
  }

  /** Initializes the CPU, AHB and APB buses clocks
  */
  RCC_ClkInitStruct.ClockType = RCC_CLOCKTYPE_HCLK|RCC_CLOCKTYPE_SYSCLK
                              |RCC_CLOCKTYPE_PCLK1|RCC_CLOCKTYPE_PCLK2
                              |RCC_CLOCKTYPE_PCLK3;
  RCC_ClkInitStruct.SYSCLKSource = RCC_SYSCLKSOURCE_PLLCLK;
  RCC_ClkInitStruct.AHBCLKDivider = RCC_SYSCLK_DIV1;
  RCC_ClkInitStruct.APB1CLKDivider = RCC_HCLK_DIV1;
  RCC_ClkInitStruct.APB2CLKDivider = RCC_HCLK_DIV1;
  RCC_ClkInitStruct.APB3CLKDivider = RCC_HCLK_DIV1;

  if (HAL_RCC_ClockConfig(&RCC_ClkInitStruct, FLASH_LATENCY_4) != HAL_OK)
  {
    Error_Handler();
  }
}

/**
  * @brief Power Configuration
  * @retval None
  */
static void SystemPower_Config(void)
{

  /*
   * Disable the internal Pull-Up in Dead Battery pins of UCPD peripheral
   */
  HAL_PWREx_DisableUCPDDeadBattery();
}

/* USER CODE BEGIN 4 */

//定时器16/17的任务分配
void HAL_TIM_PeriodElapsedCallback(TIM_HandleTypeDef *htim)
{
	static uint8_t p_Time16Cnt = 0,p_Time17Cnt = 0;
	/***************************************************************************************/
	//定时器16进行5ms任务中断
	if (htim->Instance == htim16.Instance)
	{
		p_Time16Cnt++;
		//
		if(!(p_Time16Cnt % 4))  //20ms(50Hz)进行触发刷新
		{
			touchgfx_signalVSynTimer();  //touchgfx用户接口
		}
		//
		//五项按键读取
		if(!(p_Time16Cnt % 20))  //100ms进行一次窗口更新
		{
			if(gTaskEnMark.UPDATE_FIVEKEY_EN) g_OSTsakList[eUPDATE_FIVEKEY] = Update_FiveKey_Value; 	//更新五向键数据
		}
		//蜂鸣器与数码管控制
		if(!(p_Time16Cnt % 30))  //150ms检查USER按键，蜂鸣器打开
		{
			if(!HAL_GPIO_ReadPin(USER_KEY_GPIO_Port,USER_KEY_Pin))	//按下低电平，打开蜂鸣器
			{
				HAL_GPIO_WritePin(RUN_BEEP_GPIO_Port, RUN_BEEP_Pin, GPIO_PIN_SET);
			}
			else if (!gBuzzerModalActive)
			{
				HAL_GPIO_WritePin(RUN_BEEP_GPIO_Port, RUN_BEEP_Pin, GPIO_PIN_RESET);	//释放高电平，关闭蜂鸣器
			}
		}
		//数码管位切换,5ms调用一次
		if(gTaskEnMark.UPDATE_NIXIE_SHOW_EN) g_OSTsakList[eUPDATE_NIXIE_SHOW] = Update_NixieDisplay; 	//数码管显示
		//1000ms运行一次，系统运行指示灯
		if(!(p_Time16Cnt % 200))
		{
			p_Time16Cnt = 0;
			RUN_LED_TURN_STATE();
		}
	}
	/***************************************************************************************/
	//定时器17进行100ms任务中断
	if (htim->Instance == htim17.Instance)
	{
		p_Time17Cnt++;
		if(!(p_Time17Cnt % 2))  //200ms进行一次下列代码
		{
			if(gTaskEnMark.UPDATE_SIX_AXIS_EN) g_OSTsakList[eUPDATE_SIX_AXIS] = Update_EulerAngle; 	//欧拉角更新
		}
		if(!(p_Time17Cnt % 4))  //300ms进行一次下列代码
		{
			if(gTaskEnMark.UPDATE_APP_TASK_EN) g_OSTsakList[eUPDATE_APP_INFO] = Update_AppPageInfo;	//更新电压、电流、温湿度、光照度
		}
		if(!(p_Time17Cnt % 5))  //500ms进行一次下列代码
		{
			if(gTaskEnMark.UPDATE_WIFI_RSSI_EN) g_OSTsakList[eUPDATE_WIFI_RSSI] = ESP8266_RSSI_Task; 	//获取wifi连接的RSSI值
		}
		if(!(p_Time17Cnt % 10))  //1s进行一次下列代码
		{
			if(gTaskEnMark.UPDATE_TIME_EN) g_OSTsakList[eUPDATE_TIME] = Update_System_Time; 	//系统时间更新
		}
		if(!(p_Time17Cnt % 20))  //2s进行一次下列代码
		{
			if(gTaskEnMark.UPDATE_CHIPINFO_EN) g_OSTsakList[eUPDATE_CHIPINFO] = Update_ChipInfo; 	//系统信息更新
		}
		if(!(p_Time17Cnt % 30))  //3s进行一次下列代码（阻塞式采集）
		{
			// 单次测量，测量完成后 gTaskStateBit.Max30102 置1，避免重复调度
			if(gTaskEnMark.UPDATE_HEART_RATE_EN && !gTaskStateBit.Max30102)
				g_OSTsakList[eUPDATE_HEART_RATE] = Update_HeartRateInfo;
		}
		if(!(p_Time17Cnt % 100))  //10s进行一次下列代码
		{
			p_Time17Cnt = 0;
		}
	}
	/***************************************************************************************/
  /* Prevent unused argument(s) compilation warning */
  UNUSED(htim);
}
/**
  * @brief  EXTI line rising detection callback.
  * @param  GPIO_Pin: Specifies the port pin connected to corresponding EXTI line.
  * @retval None
  */
void HAL_GPIO_EXTI_Falling_Callback(uint16_t GPIO_Pin)
{

	/* Prevent unused argument(s) compilation warning */
	UNUSED(GPIO_Pin);
	//触摸按下事件
	if((!HAL_GPIO_ReadPin(TP_INT_GPIO_Port,TP_INT_Pin)) && (GPIO_Pin == TP_INT_Pin))
	{
		gTaskStateBit.TouchPress = 1;
	}
	if((GPIO_Pin == USER_KEY_Pin) && !HAL_GPIO_ReadPin(USER_KEY_GPIO_Port,USER_KEY_Pin))
	{
		g_low_power_mode = g_low_power_mode ? 0 : 1;
		}
	if((!HAL_GPIO_ReadPin(EXT_FIRE_GPIO_Port,EXT_FIRE_Pin)) && (GPIO_Pin == EXT_FIRE_Pin))
	{
		gTaskStateBit.ExtFIRE = 0;
	}
	//光电开关状态读取，释放状态为低电平，联动蜂鸣器-关
	if((!HAL_GPIO_ReadPin(EXT_ITR_GPIO_Port,EXT_ITR_Pin)) && (GPIO_Pin == EXT_ITR_Pin))
	{
		gTaskStateBit.ExtITR = 0;
		HAL_GPIO_WritePin(RUN_BEEP_GPIO_Port,RUN_BEEP_Pin,GPIO_PIN_RESET);	//关蜂鸣器
	}
	//人体红外状态读取，释放状态为低电平，联动直流风扇-关
	if(!HAL_GPIO_ReadPin(EXT_PIR_GPIO_Port,EXT_PIR_Pin))
	{
		gTaskStateBit.ExtPIR = 0;
		HAL_GPIO_WritePin(FAN_GPIO_Port,FAN_Pin,GPIO_PIN_RESET);	//关闭风扇
	}
}
void HAL_GPIO_EXTI_Rising_Callback(uint16_t GPIO_Pin)
{
  /* Prevent unused argument(s) compilation warning */
	UNUSED(GPIO_Pin);
	//触摸释放事件
	if(HAL_GPIO_ReadPin(TP_INT_GPIO_Port,TP_INT_Pin) && gTaskStateBit.TouchPress)
	{
		FT6336_irq_fuc();	//触摸中断产生
		gTaskStateBit.TouchPress = 0;	//清除触摸标志
	}
		//光电开关状态读取，初始状态低电平，联动蜂鸣器-开
	if(HAL_GPIO_ReadPin(EXT_ITR_GPIO_Port,EXT_ITR_Pin) && (GPIO_Pin == EXT_ITR_Pin))
	{
		gTaskStateBit.ExtITR = 1;
		HAL_GPIO_WritePin(RUN_BEEP_GPIO_Port,RUN_BEEP_Pin,GPIO_PIN_SET);	//开蜂鸣器
	}
//	//五向按键按下
//	if(HAL_GPIO_ReadPin(EXT_FIVEKEY_GPIO_Port,EXT_FIVEKEY_Pin) && (GPIO_Pin == EXT_FIVEKEY_Pin))
//	{
//		gTaskStateBit.FiveKeyPress = 1;
//	}
	//火焰状态读取，初始状态低电平，上报TouchGFX显示
	if(HAL_GPIO_ReadPin(EXT_FIRE_GPIO_Port,EXT_FIRE_Pin) && (GPIO_Pin == EXT_FIRE_Pin))
	{
		gTaskStateBit.ExtFIRE = 1;
	}
	//人体红外状态读取，初始状态低电平，联动直流风扇-开
	if(HAL_GPIO_ReadPin(EXT_PIR_GPIO_Port,EXT_PIR_Pin) && (GPIO_Pin == EXT_PIR_Pin))
	{
		gTaskStateBit.ExtPIR = 1;
		HAL_GPIO_WritePin(FAN_GPIO_Port,FAN_Pin,GPIO_PIN_SET);	//打开风扇
	}
	//物理按键的页面切换
	if(HAL_GPIO_ReadPin(SCREENKEY_GPIO_Port,SCREENKEY_Pin) && (GPIO_Pin == SCREENKEY_Pin))
	{
		KeyChangeScreen = 1;
	}

//--------------------------------------------------------------------------------------------------------------------
	  // --- 新增：NFC 感应触发 ---
  if (GPIO_Pin == GPIO_PIN_0) // 确认引脚是你配给 NFC 的那个（比如 PC12）
  {
      if (nfc_app_state == NFC_APP_IDLE)
      {
          nfc_app_state = NFC_APP_WAIT_KEY;
          g_nfc_unlock_flag = 0;
          // 发送第一步：校验密钥
          NFC_Send_SetKey(&nfc, "1234567890AB");
          //printf("[NFC] Card Detected, Verifying...\r\n");
      }
  }
//----------------------------------------------------------------------------------------------------------------------------
}
/**
  * @brief  Conversion complete callback in non blocking mode
  * @param  hadc: ADC handle
  * @note   This example shows a simple way to report end of conversion
  *         and get conversion result. You can add your own implementation.
  * @retval None
  */
void HAL_ADC_ConvCpltCallback(ADC_HandleTypeDef *hadc)
{
  //更新DMA传输状态标志
  gTaskStateBit.ADCC = 1;
}
/**
  * @brief  Rx Transfer completed callback.
  * @param  huart UART handle.
  * @retval None
  */
void HAL_UART_RxCpltCallback(UART_HandleTypeDef *huart)
{
	//USART3接收数据
	if (huart->Instance == UART5)
	{
		if(ESP8266_Fram_Record_Struct .InfBit .FramLength < ( RX_BUF_MAX_LEN - 1 ) ) 	//接收到的数据存储至buffer
		{
			//留最后一位做结束位
			ESP8266_Fram_Record_Struct .Data_RX_BUF[ ESP8266_Fram_Record_Struct .InfBit .FramLength ++ ]  = gRX3_BufF[0];
			//UART3开启下一次接收
			HAL_UART_Receive_IT(&huart5,(uint8_t *)&gRX3_BufF, 1);//接收一个字节
		}
	}

}
/**
  * @brief  UART Abort Receive Complete callback.
  * @param  huart UART handle.
  * @retval None
  */
void HAL_UART_AbortReceiveCpltCallback(UART_HandleTypeDef *huart)
{
	//USART3帧传输完成，产生空闲
	if (huart->Instance == UART5)
	{
		ESP8266_Fram_Record_Struct .InfBit .FramFinishFlag = 1;	//帧传输完成标志
		TcpClosedFlag = strstr ( ESP8266_Fram_Record_Struct .Data_RX_BUF, "CLOSED\r\n" ) ? 1 : 0;	//判断连接
		//UART3开启下一次接收
		HAL_UART_Receive_IT(&huart5,(uint8_t *)&gRX3_BufF, 1);//接收一个字节
	}
}
//----------------------------------------------------------------------------------------------------------------------
void HAL_UARTEx_RxEventCallback(UART_HandleTypeDef *huart, uint16_t Size)
{
    if (huart->Instance == UART4)
    {
        NFC_Result_t res = NFC_Analyze_And_Forward(&nfc, Size);
        if (res == NFC_RES_NONE) return;

        switch (nfc_app_state) {
            case NFC_APP_WAIT_KEY:
                if (res == NFC_RES_OK) {
                    nfc_app_state = NFC_APP_WAIT_READ;
                    NFC_Send_ReadBlock(&nfc, 4); // 密码对了，去读第4块
                } else {
                    nfc_app_state = NFC_APP_IDLE;
                }
                break;

            case NFC_APP_WAIT_READ:
                if (res == NFC_RES_READ_SUCCESS) {
                    g_nfc_unlock_flag = 1; // 【大功告成】设置成功标志
                    //printf("[NFC] Auth Success! Unlock Triggered.\r\n");
                }
                nfc_app_state = NFC_APP_IDLE;
                break;

            default: break;
        }
    }
}
//--------------------------------------------------------------------------------------------------------------------
/* USER CODE END 4 */

void Error_Handler(void)
{
  __disable_irq();
  while (1)
  {
  }
}
